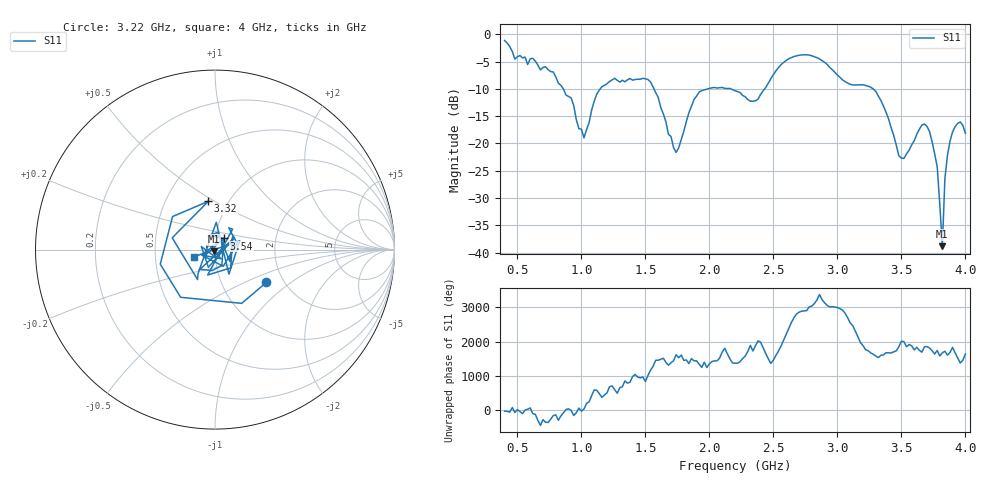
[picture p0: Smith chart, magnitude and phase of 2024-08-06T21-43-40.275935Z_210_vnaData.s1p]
!Created with skrf (http://scikit-rf.org).
# Hz S RI R 50.0
!freq ReS11 ImS11
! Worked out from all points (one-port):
!   181 points, 400 MHz to 4 GHz, reference 50 ohm
!   lowest |S11| = -38.8 dB at 3.82 GHz (marker M1), VSWR 1.02, Z = 49.4 - j0.949 ohm
!   |S11| at or under -10 dB: 858.9 MHz to 1.147 GHz (288.3 MHz wide, 28.7 % of centre); 1.567 GHz to 1.989 GHz (422.4 MHz wide, 23.8 % of centre); 3.279 GHz to end of sweep (the widest 3 of 4)
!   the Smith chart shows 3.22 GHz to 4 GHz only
!   S11 on the Smith chart (normalised r, x): 3.22 GHz: 1.63, -0.67; 3.32 GHz: 0.81, +0.47; 3.54 GHz: 1.10, +0.14; 4 GHz: 0.79, -0.06
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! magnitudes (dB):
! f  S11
! 400 MHz  -1.1
! 480 MHz  -4.5
! 860 MHz  -10.0
! 1.02 GHz  -19.0
! 1.14 GHz  -10.2
! 1.3 GHz  -8.8
! 1.54 GHz  -8.7
! 1.72 GHz  -20.8
! 1.76 GHz  -20.8
! 1.92 GHz  -10.6
! 2.2 GHz  -10.3
! 2.36 GHz  -12.2
! 2.66 GHz  -4.1
! 2.84 GHz  -4.3
! 3.1 GHz  -9.2
! 3.22 GHz  -9.4
! 3.32 GHz  -11.3
! 3.48 GHz  -22.3
! 3.54 GHz  -21.9
! 3.56 GHz  -21.3
! 3.66 GHz  -16.6
! 3.72 GHz  -17.8
! 3.78 GHz  -24.3
! 3.82 GHz  -38.8
! 3.84 GHz  -26.4
! 3.88 GHz  -19.6
! 3.96 GHz  -16.1
! 4 GHz  -18.1
